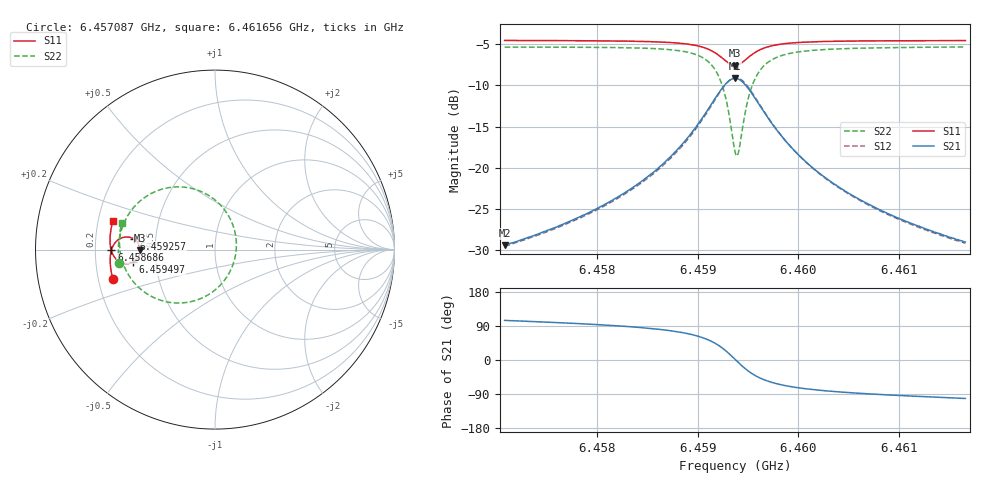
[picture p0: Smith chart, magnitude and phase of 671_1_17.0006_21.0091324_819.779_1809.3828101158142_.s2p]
#  HZ  S  RI  R  50.00
! Rohde & Schwarz Vector Network Analyzer
! Rohde-Schwarz,ZNB20-2Port,1311601062101988,3.16
! Created: UTC 3/20/2024, 11:22:09 PM
! freq[Hz]  re:S11  im:S11  re:S21  im:S21  re:S12  im:S12  re:S22  im:S22
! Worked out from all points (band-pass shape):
!   401 points, 6.457087 GHz to 6.461656 GHz, reference 50 ohm
!   highest |S21| = -9.15 dB at 6.459372 GHz (marker M1); lowest = -29.4 dB at 6.457087 GHz (marker M2)
!   |S21| within 3 dB of the highest: 6.459144 GHz to 6.459601 GHz (457.1 kHz wide, 0.00708 % of centre)
!   lowest |S11| = -7.6 dB at 6.459372 GHz (marker M3), VSWR 2.43, Z = 20.6 - j0.203 ohm
!   |S11| at or under -10 dB: nowhere
!   |S22| runs from -18.5 to -5.3 dB; largest |S21 - S12| = 0.014
!   S11 on the Smith chart (normalised r, x): 6.457087 GHz: 0.26, -0.13; 6.458686 GHz: 0.27, -0.00; 6.459257 GHz: 0.37, +0.06; 6.459497 GHz: 0.37, -0.07; 6.461656 GHz: 0.26, +0.13
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6.4570871e9  -0.5692 -0.1636  -0.00855 0.0329  -0.00669 0.0329  -0.5342 -0.0755
6.4578524e9  -0.5821 -0.0964  -0.00495 0.051  -0.00238 0.0502  -0.5381 0.0147
6.4582522e9  -0.5844 -0.0565  0.000787 0.0691  0.00404 0.0677  -0.5298 0.0779
6.4586177e9  -0.5798 -0.0128  0.0158 0.0994  0.0197 0.0965  -0.5021 0.16
6.4586862e9  -0.5775 -0.00325  0.0212 0.1078  0.0253 0.1045  -0.4918 0.1798
6.4588804e9  -0.5644 0.0269  0.0482 0.1384  0.0524 0.1334  -0.4407 0.2486
6.4590289e9  -0.5415 0.0531  0.0941 0.1685  0.0973 0.1617  -0.356 0.3124
6.459166e9  -0.4973 0.0702  0.1821 0.1844  0.1828 0.1768  -0.1954 0.3494
6.4592574e9  -0.4525 0.0595  0.272 0.1522  0.272 0.1464  -0.0284 0.2974
6.4593259e9  -0.4234 0.0273  0.3325 0.0796  0.3346 0.0743  0.0873 0.1665
6.4593716e9  -0.4165 -0.00408  0.3487 0.0111  0.3523 0.00417  0.1192 0.0383
6.4594059e9  -0.4208 -0.0278  0.3426 -0.0419  0.3465 -0.0509  0.1072 -0.0623
6.4594516e9  -0.4365 -0.0543  0.3134 -0.1022  0.3156 -0.1143  0.0482 -0.1767
6.4594973e9  -0.4587 -0.0708  0.2705 -0.1435  0.2698 -0.1571  -0.0384 -0.2521
6.4595429e9  -0.4818 -0.0775  0.2254 -0.1661  0.2214 -0.1791  -0.1293 -0.289
6.4595886e9  -0.5027 -0.0776  0.1844 -0.1744  0.1782 -0.1862  -0.21 -0.2977
6.4597371e9  -0.5468 -0.0567  0.0955 -0.1595  0.0867 -0.1659  -0.3798 -0.2459
6.459897e9  -0.5684 -0.0286  0.0503 -0.1308  0.0425 -0.1336  -0.4607 -0.172
6.4601369e9  -0.5808 0.00714  0.0211 -0.0985  0.0153 -0.099  -0.5081 -0.0882
6.460491e9  -0.5849 0.0493  0.00494 -0.0705  0.00108 -0.0699  -0.5288 -0.00593
6.4609022e9  -0.5826 0.0906  -0.00207 -0.0523  -0.005 -0.0514  -0.5321 0.0602
6.4616561e9  -0.5697 0.1575  -0.007 -0.0349  -0.00876 -0.0338  -0.5195 0.15
